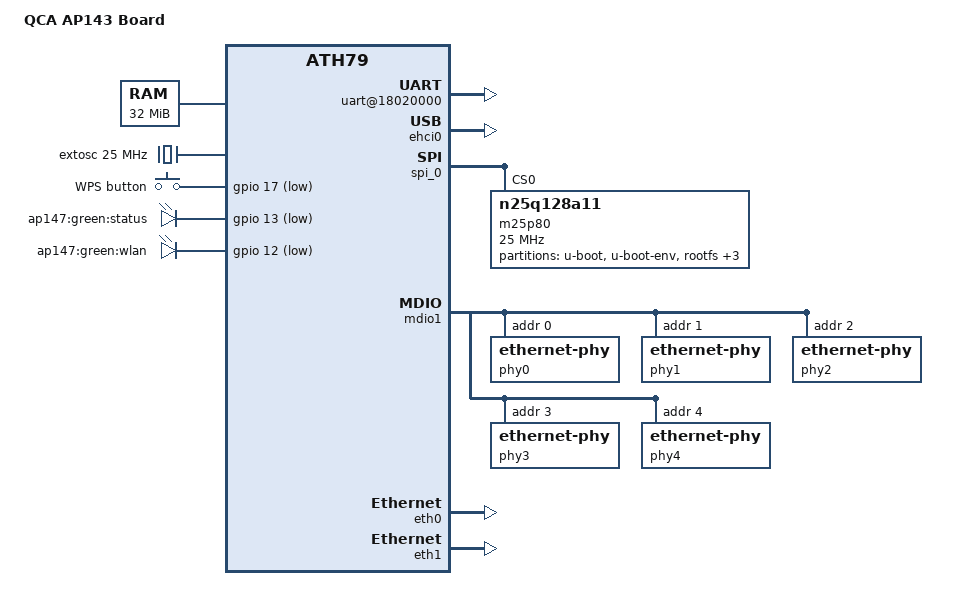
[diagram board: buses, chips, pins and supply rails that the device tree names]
/* Copyright (c) 2016, The Linux Foundation. All rights reserved.
 *
 * Permission to use, copy, modify, and/or distribute this software for any
 * purpose with or without fee is hereby granted, provided that the above
 * copyright notice and this permission notice appear in all copies.
 *
 * THE SOFTWARE IS PROVIDED "AS IS" AND THE AUTHOR DISCLAIMS ALL WARRANTIES
 * WITH REGARD TO THIS SOFTWARE INCLUDING ALL IMPLIED WARRANTIES OF
 * MERCHANTABILITY AND FITNESS. IN NO EVENT SHALL THE AUTHOR BE LIABLE FOR
 * ANY SPECIAL, DIRECT, INDIRECT, OR CONSEQUENTIAL DAMAGES OR ANY DAMAGES
 * WHATSOEVER RESULTING FROM LOSS OF USE, DATA OR PROFITS, WHETHER IN AN
 * ACTION OF CONTRACT, NEGLIGENCE OR OTHER TORTIOUS ACTION, ARISING OUT OF
 * OR IN CONNECTION WITH THE USE OR PERFORMANCE OF THIS SOFTWARE.
 *
 */

/dts-v1/;

#include <dt-bindings/gpio/gpio.h>
#include <dt-bindings/input/input.h>

#include "ath79.dtsi"

/ {
	compatible = "qca,ap143", "qca,ath79";
	model = "QCA AP143 Board";

	aliases {
		serial0 = "/ahb/apb/uart@18020000";
		eth0 = "/ahb/ethernet@19000000";
		eth1 = "/ahb/ethernet@1a000000";
	};

	memory@0 {
		device_type = "memory";
		reg = <0x0 0x2000000>;
	};

	chosen {
		bootargs = "board=DTB console=ttyS0,115200 mtdparts=spi0.0:256k(u-boot)ro,64k(u-boot-env),14528k(rootfs),1472k(kernel),64k(art),16000k@0x50000(firmware) rootfstype=squashfs,jffs2 noinitrd crashkernel=10M@20M";
	};

	extosc: oscillator {
		compatible = "fixed-clock";
		#clock-cells = <0>;
		clock-frequency = <25000000>;
	};

	cpuintc: interrupt-controller {
		qca,ddr-wb-channel-interrupts = <3>;
		qca,ddr-wb-channels = <&ddr_ctrl 0x2>;
	};

	ahb {
		apb {
			uart@18020000 {
				status = "okay";
			};

			gpio@18040000 {
				val,gpio = <
					45 4
					41 16
					42 15
					43 14
					44 11
				>;
			};

			pll-controller@18050000 {
				clocks = <&extosc>;
			};

			ip3_int: interrupt-controller@ip3_int {
				status = "disabled";
			};

			ehci0: usb@1b000000 {
				compatible = "qca,ath79-ehci", "qca,ap147-ehci";
				reg = <0x1b000000 0x200>;
				interrupt-parent = <&cpuintc>;
				interrupts = <3>;
				has-transaction-translator;
				qca_force_host_mode;
				qca_force_16bit_ptw;
				caps-offset = <0x100>;
				status = "okay";
			};
		};

		spi_0: spi@1f000000 {
			status = "okay";
			m25p80@0 {
				#address-cells = <1>;
				#size-cells = <1>;
				compatible = "n25q128a11";
				linux,modalias = "m25p80", "n25q128a11";
				reg = <0>;
				spi-max-frequency = <25000000>;

				partition@0 {
					label = "u-boot";
					reg = <0x000000 0x040000>;
				};

				partition@1 {
					label = "u-boot-env";
					reg = <0x040000 0x050000>;
				};

				partition@2 {
					label = "rootfs";
					reg = <0x050000 0xe80000>;
				};

				partition@3 {
					label = "kernel";
					reg = <0xe80000 0xff0000>;
				};

				partition@4 {
					label = "art";
					reg = <0xff0000 0x1000000>;
				};

				partition@5 {
					label = "firmware";
					reg = <0x50000 0xff0000>;
				};
			};
		};

		mdio1: mdio@1a000000 {
			compatible = "qca,ag71xx-mdio";
			reg = <0x1a000000 0x200>;
			phy-mask = <0>;
			builtin-switch = <1>;
			ar934x-support = <0>;
			reset-bit = <0x800100>;
			phy0: ethernet-phy@0 {
				reg = <0>;
			};
			phy1: ethernet-phy@1 {
				reg = <1>;
			};
			phy2: ethernet-phy@2 {
				reg = <2>;
			};
			phy3: ethernet-phy@3 {
				reg = <3>;
			};
			phy4: ethernet-phy@4 {
				reg = <4>;
			};
		};

		eth0: ethernet@19000000 {
			compatible = "qca,ag71xx-eth";
			reg = <0x19000000 0x200>,
			      <0x18070000 0x14>;
			reg-names = "mac_base",
				    "cfg_base";
			mdio-handle = <&mdio1>;
			eth-pll-data = <0 0 0>;
			phy-mode = <1>;
			phy-mask = <0x10>;
			force-speed = <100>;
			force-duplex = <1>;
			max-frame-len = <4095>;
			desc-pktlen-mask = <0x3fff>;
			reset-bit = <0x200>;
			has-gbit = <1>;
			ar724x-support = <1>;
			qca955x-support = <0>;
			fifo-cfg = <0x0010ffff 0x015500aa 0x01f00140>;
			interrupts = <4>;
			interrupt-names = "mac_irq";
			local-mac-address = [ 00 00 00 00 00 00 ];
		};

		eth1: ethernet@1a000000 {
			compatible = "qca,ag71xx-eth";
			reg = <0x1a000000 0x200>;
			reg-names = "mac_base";
			mdio-handle = <&mdio1>;
			eth-pll-data = <0x1616 0x2000101 0>;
			phy-mode = <2>;
			phy-mask = <0>;
			force-speed = <1000>;
			force-duplex = <1>;
			max-frame-len = <0x3fff>;
			desc-pktlen-mask = <0x3fff>;
			reset-bit = <0x2000>;
			has-gbit = <1>;
			ar724x-support = <1>;
			qca955x-support = <0>;
			fifo-cfg = <0x0010ffff 0x015500aa 0x01f00140>;
			builtin-switch = <1 0x10>;
			interrupts = <5>;
			interrupt-names = "mac_irq";
			local-mac-address = [ 00 00 00 00 00 00 ];
		};
	};

	gpio-keys-polled {
		compatible = "gpio-keys-polled";
		#address-cells = <1>;
		#size-cells = <0>;

		poll-interval = <20>;

		button@0 {
			label = "WPS button";
			linux,code = <KEY_WPS_BUTTON>;
			gpios = <&gpio 17 GPIO_ACTIVE_LOW>;
			debounce-interval = <60>;
		};
	};

	leds {
		compatible = "gpio-leds";
		led@0 {
			label = "ap147:green:status";
			gpios = <&gpio 13 GPIO_ACTIVE_LOW>;
		};

		led@1 {
			label = "ap147:green:wlan";
			gpios = <&gpio 12 GPIO_ACTIVE_LOW>;
		};

	};
};
